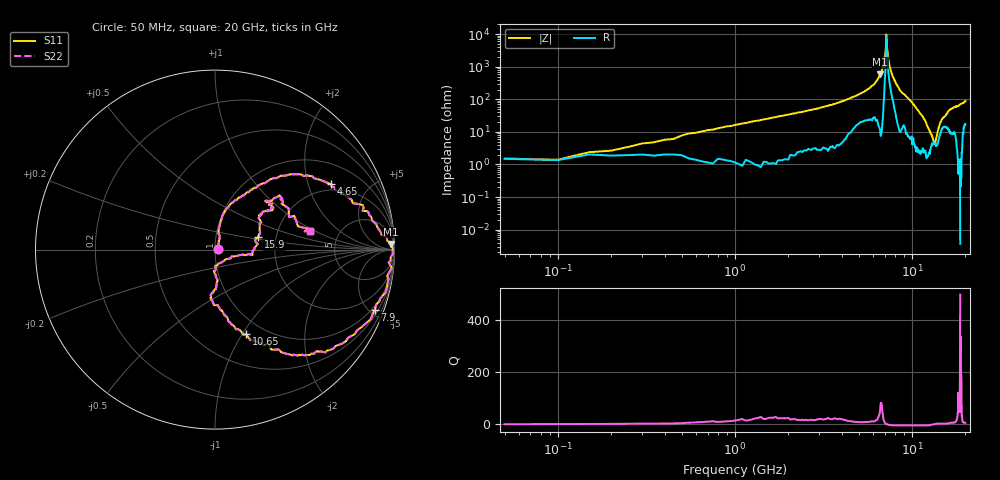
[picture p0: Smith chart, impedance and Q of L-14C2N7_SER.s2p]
# MHZ S MA R 50
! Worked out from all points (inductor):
!   400 points, 50 MHz to 20 GHz, reference 50 ohm
!   read as one part in series: L = 2.51 nH near 500 MHz
!   highest Q = 48 at 6.6 GHz (marker M1), where L = 14 nH
!   self-resonance near 7.15 GHz
!   S11 on the Smith chart (normalised r, x): 50 MHz: 1.04, +0.01; 4.65 GHz: 1.74, +2.81; 7.9 GHz: 0.78, -5.37; 10.65 GHz: 0.83, -1.04; 15.9 GHz: 1.61, +0.24; 20 GHz: 3.06, +0.90
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50  0.02 15.9  0.99 0.7  0.99 0.7  0.02 15.9
550  0.09 76.3  0.98 -4.8  0.98 -4.8  0.09 76.3
1100  0.17 78.4  0.97 -10.7  0.97 -10.7  0.17 78.4
3400  0.51 51.0  0.84 -35.9  0.84 -35.9  0.51 51.0
4650  0.74 29.5  0.66 -53.1  0.66 -53.1  0.74 29.5
6100  0.93 5.2  0.33 -79.0  0.33 -79.0  0.93 5.2
6600  0.98 1.8  0.17 -87.1  0.17 -87.1  0.98 1.8
6700  0.98 1.3  0.14 -88.0  0.14 -88.0  0.98 1.3
7100  0.98 -2.4  0.03 -52.4  0.03 -52.4  0.98 -2.4
7150  0.98 -3.3  0.01 -26.9  0.01 -26.9  0.98 -3.3
7350  0.99 -5.9  0.06 60.9  0.06 60.9  0.99 -5.9
7900  0.95 -20.7  0.22 60.8  0.22 60.8  0.95 -20.7
8750  0.84 -43.0  0.47 43.2  0.47 43.2  0.84 -43.0
10050  0.64 -60.6  0.72 27.6  0.72 27.6  0.64 -60.6
10650  0.5 -69.8  0.82 18.4  0.82 18.4  0.5 -69.8
13350  0.17 -85.0  0.94 -9.7  0.94 -9.7  0.17 -85.0
14200  0.08 -41.7  0.95 -17.5  0.95 -17.5  0.08 -41.7
14850  0.19 -7.5  0.94 -23.3  0.94 -23.3  0.19 -7.5
15900  0.25 16.2  0.93 -31.9  0.93 -31.9  0.25 16.2
16700  0.34 38.2  0.89 -35.6  0.89 -35.6  0.34 38.2
18950  0.47 39.7  0.85 -53.3  0.85 -53.3  0.47 39.7
20000  0.54 11.1  0.79 -61.4  0.79 -61.4  0.54 11.1
